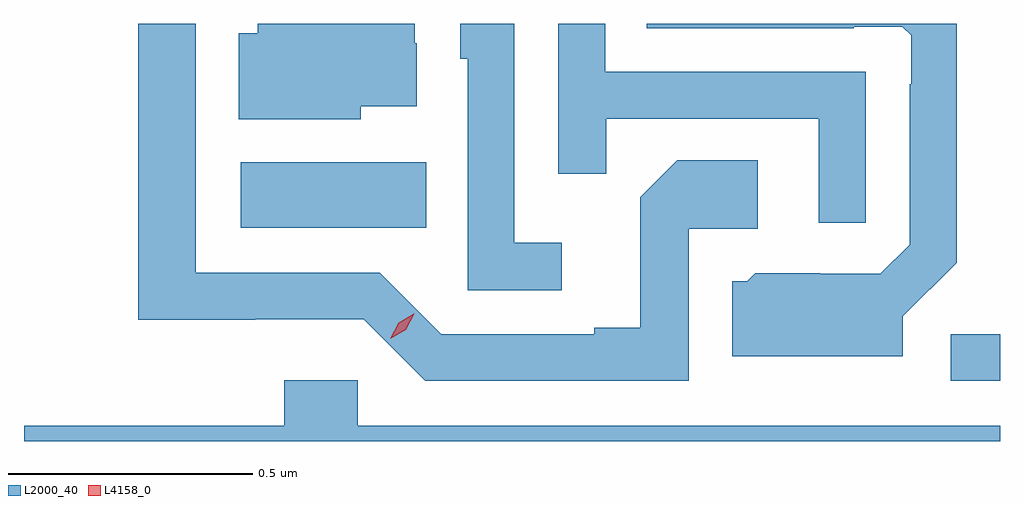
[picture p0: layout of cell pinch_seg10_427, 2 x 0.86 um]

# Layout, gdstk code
import gdstk
lib = gdstk.Library(unit=1e-6, precision=1e-09)
def R(c, l, rs):  # rectangles x0, y0, x1, y1
    for r in rs: c.add(gdstk.rectangle(r[:2], r[2:], *l))
def P(c, l, *ps):  # polygons
    for p in ps: c.add(gdstk.Polygon(p, *l))
L2000_40 = (2000, 40)
L4158_0 = (4158, 0)

pinch_seg10_427 = lib.new_cell('pinch_seg10_427')
R(pinch_seg10_427, L2000_40, [(601.035,1248.624,601.136,1248.72), (599.58,1248.938,599.96,1249.072)])
P(pinch_seg10_427, L2000_40, [(599.826,1249.187),(599.941,1249.187),(599.941,1249.316),(599.937,1249.316),(599.937,1249.356),(599.615,1249.356),(599.615,1249.336),(599.576,1249.336),(599.576,1249.16),(599.826,1249.16)],
  [(600.861,1249.257),(600.327,1249.257),(600.327,1249.356),(600.231,1249.356),(600.231,1249.048),(600.329,1249.048),(600.329,1249.161),(600.765,1249.161),(600.765,1248.948),(600.861,1248.948)],
  [(600.937,1248.756),(601.047,1248.866),(601.047,1249.356),(600.412,1249.356),(600.412,1249.347),(600.836,1249.347),(600.836,1249.35),(600.936,1249.35),(600.954,1249.332),(600.954,1249.232),(600.951,1249.232),(600.951,1248.903),(600.891,1248.843),(600.768,1248.843),(600.768,1248.844),(600.634,1248.844),(600.618,1248.828),(600.587,1248.828),(600.587,1248.674),(600.937,1248.674)],
  [(600.238,1248.907),(600.141,1248.907),(600.141,1249.356),(600.03,1249.356),(600.03,1249.284),(600.045,1249.284),(600.045,1248.81),(600.238,1248.81)],
  [(600.498,1248.936),(600.64,1248.936),(600.64,1249.076),(600.475,1249.076),(600.399,1249),(600.399,1248.733),(600.305,1248.733),(600.305,1248.72),(599.991,1248.72),(599.865,1248.846),(599.488,1248.846),(599.488,1249.356),(599.37,1249.356),(599.37,1248.749),(599.61,1248.749),(599.61,1248.75),(599.832,1248.75),(599.958,1248.624),(600.498,1248.624)],
  [(601.136,1248.532),(599.82,1248.532),(599.82,1248.625),(599.669,1248.625),(599.669,1248.532),(599.136,1248.532),(599.136,1248.5),(601.136,1248.5)])
P(pinch_seg10_427, L4158_0, [(599.886,1248.71),(599.886,1248.71),(599.904,1248.743),(599.935,1248.762),(599.936,1248.762),(599.936,1248.762),(599.918,1248.729),(599.887,1248.71)])

lib.write_gds('pinch_seg10_427.gds')
